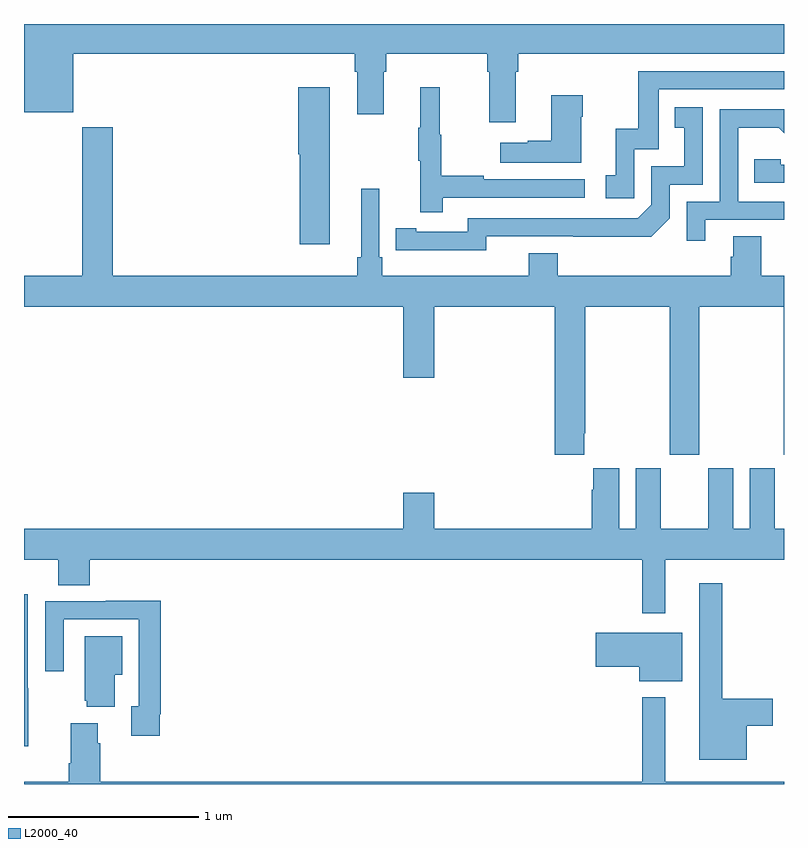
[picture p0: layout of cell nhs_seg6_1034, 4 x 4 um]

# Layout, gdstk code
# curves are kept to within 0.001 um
import gdstk
lib = gdstk.Library(unit=1e-6, precision=1e-09)
def P(c, l, *ps):  # polygons
    for p in ps: c.add(gdstk.Polygon(p, *l))
L2000_40 = (2000, 40)

nhs_seg6_1034 = lib.new_cell('nhs_seg6_1034')
P(nhs_seg6_1034, L2000_40, [(177.589,939.248),(177.602,939.248),(177.602,939.344),(179,939.344),(179,939.5),(175,939.5),(175,939.035),(175.258,939.035),(175.258,939.344),(176.741,939.344),(176.741,939.248),(176.753,939.248),(176.753,939.024),(176.893,939.024),(176.893,939.248),(176.906,939.248),(176.906,939.344),(177.437,939.344),(177.437,939.248),(177.449,939.248),(177.449,938.982),(177.589,938.982)],
  [(178.212,938.841),(178.341,938.841),(178.341,939.156),(179,939.156),(179,939.252),(178.233,939.252),(178.233,938.95),(178.115,938.95),(178.115,938.703),(178.062,938.703),(178.062,938.583),(178.212,938.583)],
  [(176.608,939.166),(176.444,939.166),(176.444,938.814),(176.45,938.814),(176.45,938.34),(176.608,938.34)],
  [(177.203,938.586),(177.952,938.586),(177.952,938.682),(177.419,938.682),(177.419,938.702),(177.196,938.702),(177.196,938.916),(177.188,938.916),(177.188,939.166),(177.086,939.166),(177.086,938.953),(177.075,938.953),(177.075,938.779),(177.086,938.779),(177.086,938.508),(177.203,938.508)],
  [(177.934,939.011),(177.942,939.011),(177.942,939.124),(177.776,939.124),(177.776,938.885),(177.65,938.885),(177.65,938.875),(177.507,938.875),(177.507,938.771),(177.934,938.771)],
  [(177.432,938.382),(178.3,938.381),(178.398,938.478),(178.398,938.655),(178.572,938.655),(178.572,939.061),(178.426,939.061),(178.426,938.955),(178.475,938.955),(178.475,938.751),(178.302,938.751),(178.302,938.55),(178.23,938.478),(177.336,938.478),(177.336,938.406),(177.064,938.406),(177.064,938.426),(176.956,938.426),(176.956,938.31),(177.432,938.309)],
  [(178.585,938.469),(179,938.469),(179,938.565),(178.758,938.565),(178.758,938.954),(178.972,938.954),(179,938.926),(179,939.051),(178.662,939.051),(178.662,938.565),(178.488,938.565),(178.488,938.358),(178.585,938.358)],
  [(179,938.76),(178.983,938.76),(178.983,938.787),(178.843,938.787),(178.843,938.664),(179,938.664)],
  [(176.774,938.632),(176.774,938.272),(176.755,938.272),(176.755,938.176),(175.466,938.176),(175.466,938.956),(175.306,938.956),(175.306,938.176),(175,938.176),(175,938.012),(176.996,938.012),(176.996,937.638),(177.16,937.638),(177.16,938.012),(177.794,938.012),(177.794,937.233),(177.949,937.233),(177.949,937.345),(177.954,937.345),(177.954,938.012),(178.399,938.012),(178.399,937.233),(178.554,937.233),(178.554,938.012),(178.999,938.012),(178.999,937.233),(179,937.233),(179,938.176),(178.881,938.176),(178.881,938.384),(178.733,938.384),(178.733,938.274),(178.721,938.274),(178.721,938.176),(177.809,938.176),(177.809,938.293),(177.656,938.293),(177.656,938.176),(176.885,938.176),(176.885,938.272),(176.871,938.272),(176.871,938.632)],
  [(178.375,936.68),(179,936.68),(179,936.844),(178.951,936.844),(178.951,937.162),(178.82,937.162),(178.82,936.844),(178.732,936.844),(178.732,937.162),(178.601,937.162),(178.601,936.844),(178.351,936.844),(178.351,937.162),(178.22,937.162),(178.22,936.844),(178.132,936.844),(178.132,937.162),(177.995,937.162),(177.995,937.049),(177.989,937.049),(177.989,936.844),(177.16,936.844),(177.16,937.033),(176.996,937.033),(176.996,936.844),(175,936.844),(175,936.68),(175.181,936.68),(175.181,936.547),(175.346,936.547),(175.346,936.68),(178.254,936.68),(178.254,936.399),(178.375,936.399)],
  [(178.804,935.806),(178.942,935.806),(178.942,935.948),(178.675,935.948),(178.675,936.556),(178.553,936.556),(178.553,935.627),(178.804,935.627)],
  [(175.023,936.005),(175.02,936.005),(175.02,936.499),(175,936.499),(175,935.699),(175.023,935.699)],
  [(175.714,935.866),(175.721,935.866),(175.721,936.464),(175.429,936.464),(175.429,936.462),(175.113,936.462),(175.113,936.093),(175.209,936.093),(175.209,936.366),(175.605,936.366),(175.605,935.91),(175.565,935.91),(175.565,935.754),(175.714,935.754)],
  [(178.465,936.295),(178.008,936.295),(178.008,936.116),(178.238,936.116),(178.238,936.041),(178.465,936.041)],
  [(175.477,936.074),(175.516,936.074),(175.516,936.277),(175.319,936.277),(175.319,935.937),(175.331,935.937),(175.331,935.906),(175.477,935.906)],
  [(179,935.512),(178.375,935.512),(178.375,935.956),(178.254,935.956),(178.254,935.512),(175.4,935.512),(175.4,935.714),(175.387,935.714),(175.387,935.821),(175.247,935.821),(175.247,935.608),(175.235,935.608),(175.235,935.512),(175,935.512),(175,935.5),(179,935.5)])

lib.write_gds('nhs_seg6_1034.gds')
